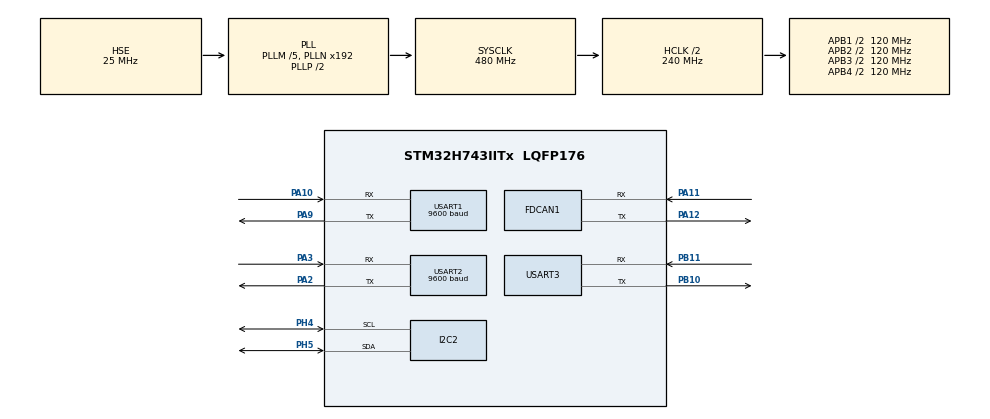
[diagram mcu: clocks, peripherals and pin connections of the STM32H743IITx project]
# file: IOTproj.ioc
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CORTEX_M7.default_mode_Activation=1
Dma.Request0=USART1_RX
Dma.Request1=USART1_TX
Dma.Request2=USART2_RX
Dma.Request3=USART2_TX
Dma.Request4=USART3_RX
Dma.Request5=USART3_TX
Dma.USART1_RX.0.Direction=DMA_PERIPH_TO_MEMORY
Dma.USART1_RX.0.EventEnable=DISABLE
Dma.USART1_RX.0.FIFOMode=DMA_FIFOMODE_DISABLE
Dma.USART1_RX.0.Instance=DMA1_Stream0
Dma.USART1_RX.0.MemDataAlignment=DMA_MDATAALIGN_BYTE
Dma.USART1_RX.0.MemInc=DMA_MINC_ENABLE
Dma.USART1_RX.0.Mode=DMA_NORMAL
Dma.USART1_RX.0.PeriphDataAlignment=DMA_PDATAALIGN_BYTE
Dma.USART1_RX.0.PeriphInc=DMA_PINC_DISABLE
Dma.USART1_RX.0.Polarity=HAL_DMAMUX_REQ_GEN_RISING
Dma.USART1_RX.0.Priority=DMA_PRIORITY_VERY_HIGH
Dma.USART1_RX.0.RequestNumber=1
Dma.USART1_RX.0.SignalID=NONE
Dma.USART1_RX.0.SyncEnable=DISABLE
Dma.USART1_RX.0.SyncPolarity=HAL_DMAMUX_SYNC_NO_EVENT
Dma.USART1_RX.0.SyncRequestNumber=1
Dma.USART1_RX.0.SyncSignalID=NONE
Dma.USART1_TX.1.Direction=DMA_MEMORY_TO_PERIPH
Dma.USART1_TX.1.EventEnable=DISABLE
Dma.USART1_TX.1.FIFOMode=DMA_FIFOMODE_DISABLE
Dma.USART1_TX.1.Instance=DMA1_Stream1
Dma.USART1_TX.1.MemDataAlignment=DMA_MDATAALIGN_BYTE
Dma.USART1_TX.1.MemInc=DMA_MINC_ENABLE
Dma.USART1_TX.1.Mode=DMA_NORMAL
Dma.USART1_TX.1.PeriphDataAlignment=DMA_PDATAALIGN_BYTE
Dma.USART1_TX.1.PeriphInc=DMA_PINC_DISABLE
Dma.USART1_TX.1.Polarity=HAL_DMAMUX_REQ_GEN_RISING
Dma.USART1_TX.1.Priority=DMA_PRIORITY_VERY_HIGH
Dma.USART1_TX.1.RequestNumber=1
Dma.USART1_TX.1.SignalID=NONE
Dma.USART1_TX.1.SyncEnable=DISABLE
Dma.USART1_TX.1.SyncPolarity=HAL_DMAMUX_SYNC_NO_EVENT
Dma.USART1_TX.1.SyncRequestNumber=1
Dma.USART1_TX.1.SyncSignalID=NONE
Dma.USART2_RX.2.Direction=DMA_PERIPH_TO_MEMORY
Dma.USART2_RX.2.EventEnable=DISABLE
Dma.USART2_RX.2.FIFOMode=DMA_FIFOMODE_DISABLE
Dma.USART2_RX.2.Instance=DMA1_Stream2
Dma.USART2_RX.2.MemDataAlignment=DMA_MDATAALIGN_BYTE
Dma.USART2_RX.2.MemInc=DMA_MINC_ENABLE
Dma.USART2_RX.2.Mode=DMA_NORMAL
Dma.USART2_RX.2.PeriphDataAlignment=DMA_PDATAALIGN_BYTE
Dma.USART2_RX.2.PeriphInc=DMA_PINC_DISABLE
Dma.USART2_RX.2.Polarity=HAL_DMAMUX_REQ_GEN_RISING
Dma.USART2_RX.2.Priority=DMA_PRIORITY_VERY_HIGH
Dma.USART2_RX.2.RequestNumber=1
Dma.USART2_RX.2.SignalID=NONE
Dma.USART2_RX.2.SyncEnable=DISABLE
Dma.USART2_RX.2.SyncPolarity=HAL_DMAMUX_SYNC_NO_EVENT
Dma.USART2_RX.2.SyncRequestNumber=1
Dma.USART2_RX.2.SyncSignalID=NONE
Dma.USART2_TX.3.Direction=DMA_MEMORY_TO_PERIPH
Dma.USART2_TX.3.EventEnable=DISABLE
Dma.USART2_TX.3.FIFOMode=DMA_FIFOMODE_DISABLE
Dma.USART2_TX.3.Instance=DMA1_Stream3
Dma.USART2_TX.3.MemDataAlignment=DMA_MDATAALIGN_BYTE
Dma.USART2_TX.3.MemInc=DMA_MINC_ENABLE
Dma.USART2_TX.3.Mode=DMA_NORMAL
Dma.USART2_TX.3.PeriphDataAlignment=DMA_PDATAALIGN_BYTE
Dma.USART2_TX.3.PeriphInc=DMA_PINC_DISABLE
Dma.USART2_TX.3.Polarity=HAL_DMAMUX_REQ_GEN_RISING
Dma.USART2_TX.3.Priority=DMA_PRIORITY_VERY_HIGH
Dma.USART2_TX.3.RequestNumber=1
Dma.USART2_TX.3.SignalID=NONE
Dma.USART2_TX.3.SyncEnable=DISABLE
Dma.USART2_TX.3.SyncPolarity=HAL_DMAMUX_SYNC_NO_EVENT
Dma.USART2_TX.3.SyncRequestNumber=1
Dma.USART2_TX.3.SyncSignalID=NONE
Dma.USART3_RX.4.Direction=DMA_PERIPH_TO_MEMORY
Dma.USART3_RX.4.EventEnable=DISABLE
Dma.USART3_RX.4.FIFOMode=DMA_FIFOMODE_DISABLE
Dma.USART3_RX.4.Instance=DMA1_Stream4
Dma.USART3_RX.4.MemDataAlignment=DMA_MDATAALIGN_BYTE
Dma.USART3_RX.4.MemInc=DMA_MINC_ENABLE
Dma.USART3_RX.4.Mode=DMA_NORMAL
Dma.USART3_RX.4.PeriphDataAlignment=DMA_PDATAALIGN_BYTE
Dma.USART3_RX.4.PeriphInc=DMA_PINC_DISABLE
Dma.USART3_RX.4.Polarity=HAL_DMAMUX_REQ_GEN_RISING
Dma.USART3_RX.4.Priority=DMA_PRIORITY_VERY_HIGH
Dma.USART3_RX.4.RequestNumber=1
Dma.USART3_RX.4.SignalID=NONE
Dma.USART3_RX.4.SyncEnable=DISABLE
Dma.USART3_RX.4.SyncPolarity=HAL_DMAMUX_SYNC_NO_EVENT
Dma.USART3_RX.4.SyncRequestNumber=1
Dma.USART3_RX.4.SyncSignalID=NONE
Dma.USART3_TX.5.Direction=DMA_MEMORY_TO_PERIPH
Dma.USART3_TX.5.EventEnable=DISABLE
Dma.USART3_TX.5.FIFOMode=DMA_FIFOMODE_DISABLE
Dma.USART3_TX.5.Instance=DMA1_Stream5
Dma.USART3_TX.5.MemDataAlignment=DMA_MDATAALIGN_BYTE
Dma.USART3_TX.5.MemInc=DMA_MINC_ENABLE
Dma.USART3_TX.5.Mode=DMA_NORMAL
Dma.USART3_TX.5.PeriphDataAlignment=DMA_PDATAALIGN_BYTE
Dma.USART3_TX.5.PeriphInc=DMA_PINC_DISABLE
Dma.USART3_TX.5.Polarity=HAL_DMAMUX_REQ_GEN_RISING
Dma.USART3_TX.5.Priority=DMA_PRIORITY_VERY_HIGH
Dma.USART3_TX.5.RequestNumber=1
Dma.USART3_TX.5.SignalID=NONE
Dma.USART3_TX.5.SyncEnable=DISABLE
Dma.USART3_TX.5.SyncPolarity=HAL_DMAMUX_SYNC_NO_EVENT
Dma.USART3_TX.5.SyncRequestNumber=1
Dma.USART3_TX.5.SyncSignalID=NONE
FDCAN1.CalculateBaudRateNominal=1000000
FDCAN1.CalculateTimeBitNominal=1000
FDCAN1.CalculateTimeQuantumNominal=200.0
FDCAN1.NominalPrescaler=5
FDCAN1.NominalTimeSeg1=2
FDCAN1.NominalTimeSeg2=2
FDCAN1.RxFifo0ElmtsNbr=8
FDCAN1.TxFifoQueueElmtsNbr=8
FREERTOS.Tasks01=_system_monitor,24,128,system_monitor,Default,NULL,Dynamic,NULL,NULL;_transmit,25,128,transmit,Default,NULL,Dynamic,NULL,NULL;_motor_control,26,128,motor_control,Default,NULL,Dynamic,NULL,NULL;_wbc_state,27,128,wbc_state,Default,NULL,Dynamic,NULL,NULL
I2C2.Timing=0x307075B1
Mcu.Family=STM32H7
Mcu.Name=STM32H743IITx
Mcu.Package=LQFP176
NVIC.DMA1_Stream0_IRQn=true\:5\:0\:false\:false\:true\:true\:false\:true\:true
NVIC.DMA1_Stream1_IRQn=true\:5\:0\:false\:false\:true\:true\:false\:true\:true
NVIC.DMA1_Stream2_IRQn=true\:5\:0\:false\:false\:true\:true\:false\:true\:true
NVIC.DMA1_Stream3_IRQn=true\:5\:0\:false\:false\:true\:true\:false\:true\:true
NVIC.DMA1_Stream4_IRQn=true\:5\:0\:false\:false\:true\:true\:false\:true\:true
NVIC.DMA1_Stream5_IRQn=true\:5\:0\:false\:false\:true\:true\:false\:true\:true
NVIC.FDCAN1_IT0_IRQn=true\:5\:0\:false\:false\:true\:true\:true\:true\:true
NVIC.PriorityGroup=NVIC_PRIORITYGROUP_4
NVIC.TIM4_IRQn=true\:15\:0\:false\:false\:true\:false\:false\:true\:true
NVIC.TimeBase=TIM4_IRQn
NVIC.TimeBaseIP=TIM4
NVIC.USART1_IRQn=true\:5\:0\:false\:false\:true\:true\:false\:true\:true
NVIC.USART2_IRQn=true\:5\:0\:false\:false\:true\:true\:true\:true\:true
NVIC.USART3_IRQn=true\:5\:0\:false\:false\:true\:true\:false\:true\:true
PA10.GPIO_PuPd=GPIO_PULLUP
PA10.GPIO_Speed=GPIO_SPEED_FREQ_VERY_HIGH
PA10.Mode=Asynchronous
PA10.Signal=USART1_RX
PA11.GPIO_PuPd=GPIO_PULLUP
PA11.GPIO_Speed=GPIO_SPEED_FREQ_VERY_HIGH
PA11.Mode=FDCAN_Activate
PA11.Signal=FDCAN1_RX
PA12.GPIO_PuPd=GPIO_PULLUP
PA12.GPIO_Speed=GPIO_SPEED_FREQ_VERY_HIGH
PA12.Mode=FDCAN_Activate
PA12.Signal=FDCAN1_TX
PA2.GPIO_PuPd=GPIO_PULLUP
PA2.GPIO_Speed=GPIO_SPEED_FREQ_VERY_HIGH
PA2.Mode=Asynchronous
PA2.Signal=USART2_TX
PA3.GPIO_PuPd=GPIO_PULLUP
PA3.GPIO_Speed=GPIO_SPEED_FREQ_VERY_HIGH
PA3.Mode=Asynchronous
PA3.Signal=USART2_RX
PA9.GPIO_PuPd=GPIO_PULLUP
PA9.GPIO_Speed=GPIO_SPEED_FREQ_VERY_HIGH
PA9.Mode=Asynchronous
PA9.Signal=USART1_TX
PB10.GPIO_PuPd=GPIO_PULLUP
PB10.GPIO_Speed=GPIO_SPEED_FREQ_VERY_HIGH
PB10.Mode=Asynchronous
PB10.Signal=USART3_TX
PB11.GPIO_PuPd=GPIO_PULLUP
PB11.GPIO_Speed=GPIO_SPEED_FREQ_VERY_HIGH
PB11.Mode=Asynchronous
PB11.Signal=USART3_RX
PH0-OSC_IN\ (PH0).Mode=HSE-External-Oscillator
PH0-OSC_IN\ (PH0).Signal=RCC_OSC_IN
PH1-OSC_OUT\ (PH1).Mode=HSE-External-Oscillator
PH1-OSC_OUT\ (PH1).Signal=RCC_OSC_OUT
PH4.GPIO_Pu=GPIO_PULLUP
PH4.GPIO_Speed=GPIO_SPEED_FREQ_VERY_HIGH
PH4.Mode=I2C
PH4.Signal=I2C2_SCL
PH5.GPIO_Pu=GPIO_PULLUP
PH5.GPIO_Speed=GPIO_SPEED_FREQ_VERY_HIGH
PH5.Mode=I2C
PH5.Signal=I2C2_SDA
ProjectManager.HeapSize=0x200
ProjectManager.StackSize=0x400
ProjectManager.TargetToolchain=MDK-ARM V5.32
RCC.ADCFreq_Value=50390625
RCC.APB1Freq_Value=120000000
RCC.APB2Freq_Value=120000000
RCC.APB3Freq_Value=120000000
RCC.APB4Freq_Value=120000000
RCC.CortexFreq_Value=480000000
RCC.D1PPRE=RCC_APB3_DIV2
RCC.D2PPRE1=RCC_APB1_DIV2
RCC.D2PPRE2=RCC_APB2_DIV2
RCC.D3PPRE=RCC_APB4_DIV2
RCC.DIVM1=5
RCC.DIVN1=192
RCC.DIVQ1=3
RCC.FDCANCLockSelection=RCC_FDCANCLKSOURCE_HSE
RCC.HCLKFreq_Value=240000000
RCC.HPRE=RCC_HCLK_DIV2
RCC.PLLFRACN=0
RCC.PLLSourceVirtual=RCC_PLLSOURCE_HSE
RCC.SYSCLKFreq_VALUE=480000000
RCC.SYSCLKSource=RCC_SYSCLKSOURCE_PLLCLK
RCC.USBFreq_Value=320000000
USART1.BaudRate=9600
USART1.VirtualMode-Asynchronous=VM_ASYNC
USART2.BaudRate=9600
USART2.VirtualMode-Asynchronous=VM_ASYNC
USART3.VirtualMode-Asynchronous=VM_ASYNC
VP_FREERTOS_VS_CMSIS_V2.Mode=CMSIS_V2
VP_SYS_VS_tim4.Mode=TIM4
board=custom

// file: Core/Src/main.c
/* USER CODE BEGIN Header */
/**
  ******************************************************************************
  * @file           : main.c
  * @brief          : Main program body
  ******************************************************************************
  * @attention
  *
  * Copyright (c) 2024 STMicroelectronics.
  * All rights reserved.
  *
  * This software is licensed under terms that can be found in the LICENSE file
  * in the root directory of this software component.
  * If no LICENSE file comes with this software, it is provided AS-IS.
  *
  ******************************************************************************
  */
/* USER CODE END Header */
#include "main.h"
#include "cmsis_os.h"
#include "dma.h"
#include "fdcan.h"
#include "i2c.h"
#include "usart.h"
#include "gpio.h"

/* USER CODE BEGIN Includes */
#include "max30205.h"
/* USER CODE END Includes */

void SystemClock_Config(void);
static void MPU_Config(void);
void MX_FREERTOS_Init(void);

int main(void)
{

  /* USER CODE BEGIN 1 */
	uint8_t enable[8]={0xFF,0xFF,0xFF,0xFF,0xFF,0xFF,0xFF,0xFC};
	uint8_t zero[8]={0xFF,0xFF,0xFF,0xFF,0xFF,0xFF,0xFF,0xFE};
  /* USER CODE END 1 */

  /* MPU Configuration--------------------------------------------------------*/
  MPU_Config();

  /* MCU Configuration--------------------------------------------------------*/

  /* Reset of all peripherals, Initializes the Flash interface and the Systick. */
  HAL_Init();

  /* Configure the system clock */
  SystemClock_Config();

  /* Initialize all configured peripherals */
  MX_GPIO_Init();
  MX_DMA_Init();
  MX_USART1_UART_Init();
  MX_USART2_UART_Init();
  MX_USART3_UART_Init();
  MX_FDCAN1_Init();
  MX_I2C2_Init();
  /* USER CODE BEGIN 2 */

	FDCAN1_Send_Msg(enable,0x08);
	MAX30205_Init();
	MAX30205_OneShotMode();

  /* USER CODE END 2 */

  /* Init scheduler */
  osKernelInitialize();

  /* Call init function for freertos objects (in cmsis_os2.c) */
  MX_FREERTOS_Init();

  /* Start scheduler */
  osKernelStart();

  /* We should never get here as control is now taken by the scheduler */

  /* Infinite loop */
  while (1)
  {

  }
}

void SystemClock_Config(void)
{
  RCC_OscInitTypeDef RCC_OscInitStruct = {0};
  RCC_ClkInitTypeDef RCC_ClkInitStruct = {0};

  /** Supply configuration update enable
  */
  HAL_PWREx_ConfigSupply(PWR_LDO_SUPPLY);

  /** Configure the main internal regulator output voltage
  */
  __HAL_PWR_VOLTAGESCALING_CONFIG(PWR_REGULATOR_VOLTAGE_SCALE1);

  while(!__HAL_PWR_GET_FLAG(PWR_FLAG_VOSRDY)) {}

  __HAL_RCC_SYSCFG_CLK_ENABLE();
  __HAL_PWR_VOLTAGESCALING_CONFIG(PWR_REGULATOR_VOLTAGE_SCALE0);

  while(!__HAL_PWR_GET_FLAG(PWR_FLAG_VOSRDY)) {}

  /** Initializes the RCC Oscillators according to the specified parameters
  * in the RCC_OscInitTypeDef structure.
  */
  RCC_OscInitStruct.OscillatorType = RCC_OSCILLATORTYPE_HSE;
  RCC_OscInitStruct.HSEState = RCC_HSE_ON;
  RCC_OscInitStruct.PLL.PLLState = RCC_PLL_ON;
  RCC_OscInitStruct.PLL.PLLSource = RCC_PLLSOURCE_HSE;
  RCC_OscInitStruct.PLL.PLLM = 5;
  RCC_OscInitStruct.PLL.PLLN = 192;
  RCC_OscInitStruct.PLL.PLLP = 2;
  RCC_OscInitStruct.PLL.PLLQ = 3;
  RCC_OscInitStruct.PLL.PLLR = 2;
  RCC_OscInitStruct.PLL.PLLRGE = RCC_PLL1VCIRANGE_2;
  RCC_OscInitStruct.PLL.PLLVCOSEL = RCC_PLL1VCOWIDE;
  RCC_OscInitStruct.PLL.PLLFRACN = 0;
  if (HAL_RCC_OscConfig(&RCC_OscInitStruct) != HAL_OK)
  {
    Error_Handler();
  }

  /** Initializes the CPU, AHB and APB buses clocks
  */
  RCC_ClkInitStruct.ClockType = RCC_CLOCKTYPE_HCLK|RCC_CLOCKTYPE_SYSCLK
                              |RCC_CLOCKTYPE_PCLK1|RCC_CLOCKTYPE_PCLK2
                              |RCC_CLOCKTYPE_D3PCLK1|RCC_CLOCKTYPE_D1PCLK1;
  RCC_ClkInitStruct.SYSCLKSource = RCC_SYSCLKSOURCE_PLLCLK;
  RCC_ClkInitStruct.SYSCLKDivider = RCC_SYSCLK_DIV1;
  RCC_ClkInitStruct.AHBCLKDivider = RCC_HCLK_DIV2;
  RCC_ClkInitStruct.APB3CLKDivider = RCC_APB3_DIV2;
  RCC_ClkInitStruct.APB1CLKDivider = RCC_APB1_DIV2;
  RCC_ClkInitStruct.APB2CLKDivider = RCC_APB2_DIV2;
  RCC_ClkInitStruct.APB4CLKDivider = RCC_APB4_DIV2;

  if (HAL_RCC_ClockConfig(&RCC_ClkInitStruct, FLASH_LATENCY_4) != HAL_OK)
  {
    Error_Handler();
  }
}

 /* MPU Configuration */

void MPU_Config(void)
{
  MPU_Region_InitTypeDef MPU_InitStruct = {0};

  /* Disables the MPU */
  HAL_MPU_Disable();

  /** Initializes and configures the Region and the memory to be protected
  */
  MPU_InitStruct.Enable = MPU_REGION_ENABLE;
  MPU_InitStruct.Number = MPU_REGION_NUMBER0;
  MPU_InitStruct.BaseAddress = 0x0;
  MPU_InitStruct.Size = MPU_REGION_SIZE_4GB;
  MPU_InitStruct.SubRegionDisable = 0x87;
  MPU_InitStruct.TypeExtField = MPU_TEX_LEVEL0;
  MPU_InitStruct.AccessPermission = MPU_REGION_NO_ACCESS;
  MPU_InitStruct.DisableExec = MPU_INSTRUCTION_ACCESS_DISABLE;
  MPU_InitStruct.IsShareable = MPU_ACCESS_SHAREABLE;
  MPU_InitStruct.IsCacheable = MPU_ACCESS_NOT_CACHEABLE;
  MPU_InitStruct.IsBufferable = MPU_ACCESS_NOT_BUFFERABLE;

  HAL_MPU_ConfigRegion(&MPU_InitStruct);
  /* Enables the MPU */
  HAL_MPU_Enable(MPU_PRIVILEGED_DEFAULT);

}

void HAL_TIM_PeriodElapsedCallback(TIM_HandleTypeDef *htim)
{
  if (htim->Instance == TIM4) {
    HAL_IncTick();
  }
}

void Error_Handler(void)
{
  __disable_irq();
  while (1)
  {
  }
}

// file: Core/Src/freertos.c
/* USER CODE BEGIN Header */
/**
  ******************************************************************************
  * File Name          : freertos.c
  * Description        : Code for freertos applications
  ******************************************************************************
  * @attention
  *
  * Copyright (c) 2024 STMicroelectronics.
  * All rights reserved.
  *
  * This software is licensed under terms that can be found in the LICENSE file
  * in the root directory of this software component.
  * If no LICENSE file comes with this software, it is provided AS-IS.
  *
  ******************************************************************************
  */
/* USER CODE END Header */

#include "FreeRTOS.h"
#include "task.h"
#include "main.h"
#include "cmsis_os.h"

/* USER CODE BEGIN Includes */
#include "fdcan.h"
#include "ROBOT.h"
#include "usart.h"
#include "max30205.h"
/* USER CODE END Includes */

/* Definitions for _system_monitor */
osThreadId_t _system_monitorHandle;
const osThreadAttr_t _system_monitor_attributes = {
  .name = "_system_monitor",
  .stack_size = 128 * 4,
  .priority = (osPriority_t) osPriorityNormal,
};
/* Definitions for _transmit */
osThreadId_t _transmitHandle;
const osThreadAttr_t _transmit_attributes = {
  .name = "_transmit",
  .stack_size = 128 * 4,
  .priority = (osPriority_t) osPriorityNormal1,
};
/* Definitions for _motor_control */
osThreadId_t _motor_controlHandle;
const osThreadAttr_t _motor_control_attributes = {
  .name = "_motor_control",
  .stack_size = 128 * 4,
  .priority = (osPriority_t) osPriorityNormal2,
};
/* Definitions for _wbc_state */
osThreadId_t _wbc_stateHandle;
const osThreadAttr_t _wbc_state_attributes = {
  .name = "_wbc_state",
  .stack_size = 128 * 4,
  .priority = (osPriority_t) osPriorityNormal3,
};

void system_monitor(void *argument);
void transmit(void *argument);
void motor_control(void *argument);
void wbc_state(void *argument);

void MX_FREERTOS_Init(void); /* (MISRA C 2004 rule 8.1) */

void MX_FREERTOS_Init(void) {

  /* Create the thread(s) */
  /* creation of _system_monitor */
  _system_monitorHandle = osThreadNew(system_monitor, NULL, &_system_monitor_attributes);

  /* creation of _transmit */
  _transmitHandle = osThreadNew(transmit, NULL, &_transmit_attributes);

  /* creation of _motor_control */
  _motor_controlHandle = osThreadNew(motor_control, NULL, &_motor_control_attributes);

  /* creation of _wbc_state */
  _wbc_stateHandle = osThreadNew(wbc_state, NULL, &_wbc_state_attributes);

}

void system_monitor(void *argument)
{
  /* USER CODE BEGIN system_monitor */
  /* Infinite loop */
  for(;;)
  {
		System_monitor.usart1_fps = System_monitor.usart1_cnt;
		System_monitor.usart1_cnt = 0;

		System_monitor.usart2_fps = System_monitor.usart2_cnt;
		System_monitor.usart2_cnt = 0;

		System_monitor.usart3_fps = System_monitor.usart3_cnt;
		System_monitor.usart3_cnt = 0;

		System_monitor.fdcan1_fps = System_monitor.fdcan1_cnt;
		System_monitor.fdcan1_cnt = 0;

		System_monitor.transmit_fps = System_monitor.transmit_cnt;
		System_monitor.transmit_cnt = 0;

		System_monitor.wbc_state_fps = System_monitor.wbc_state_cnt;
		System_monitor.wbc_state_cnt = 0;

		System_monitor.motor_control_fps = System_monitor.motor_control_cnt;
		System_monitor.motor_control_cnt = 0;

    vTaskDelay(pdMS_TO_TICKS(1000));
  }
  /* USER CODE END system_monitor */
}

void transmit(void *argument)
{
  /* USER CODE BEGIN transmit */
  /* Infinite loop */
  for(;;)
  {
		System_monitor.transmit_cnt++;

		static int uart1_cnt=0;
		static int uart2_cnt=0;

		static int iic_cnt=0;

		System_state.temp = MAX30205_GetTemperature();

		//串口2发送部分
		if(System_state.cmd==1)//血压
		{

		}
		else if(System_state.cmd==2)//血糖
		{

		}
		else if(System_state.cmd==3)//血氧
		{
			if(System_state.spo2==0)
			{
				uart1_cnt++;
				if(uart1_cnt>4500)//如果4.5秒还没有反应就生成随机数，范围50-100
				{
					uart1_cnt=0;
					System_state.cmd=0;
					int rand=75;
					int tmp2=rand/10;
					int tmp1=rand-tmp2*10;
					uart1_tx_buffer[0]=tmp2+'0';
					uart1_tx_buffer[1]=tmp1+'0';
				}
			}
			else
			{
				uart1_cnt=0;
				System_state.cmd=0;
				if(System_state.spo2/100==0)
				{
					int tmp2=System_state.spo2/10;
					int tmp1=System_state.spo2-tmp2*10;
					uart1_tx_buffer[0]=tmp2+'0';
					uart1_tx_buffer[1]=tmp1+'0';
				}
				else
				{
					int tmp3=System_state.spo2/100;
					int tmp2=(System_state.spo2-tmp3*100)/10;
					int tmp1=System_state.spo2-tmp3*100-tmp2*10;
					uart1_tx_buffer[0]=tmp3+'0';
					uart1_tx_buffer[1]=tmp2+'0';
					uart1_tx_buffer[2]=tmp1+'0';
				}
				HAL_UART_Transmit_DMA(&huart1, uart1_tx_buffer, UART1_TX_LEN);
			}
		}
		else if(System_state.cmd==4)//体温
		{
			static float temp_max=0;
			temp_max = temp_max > System_state.temp ? temp_max : System_state.temp;
			iic_cnt++;
			if(iic_cnt>3500)
			{
				if(temp_max<36)
				{
					temp_max = 36.52;//随机数生成
				}

				int tmp3 = temp_max / 10;
				int tmp2 = temp_max - tmp3 * 10;
				int tmp1 = temp_max * 10 -tmp3 * 100 - tmp2 * 10;
				int tmp0 = temp_max * 100 - tmp3 * 1000 - tmp2 * 100 - tmp1 * 10;
				uart1_tx_buffer[0]=tmp3+'0';
				uart1_tx_buffer[1]=tmp2+'0';
				uart1_tx_buffer[2]='.';
				uart1_tx_buffer[3]=tmp1+'0';
				uart1_tx_buffer[4]=tmp0+'0';

				HAL_UART_Transmit_DMA(&huart1, uart1_tx_buffer, UART1_TX_LEN);
				iic_cnt=0;
				temp_max=0;
				System_state.cmd=0;
			}
		}
		else if(System_state.cmd==5)//心率
		{
			if(System_state.heart==0)
			{
				uart1_cnt++;
				if(uart1_cnt>4500)//如果4.5秒还没有反应就生成随机数，范围20-200
				{
					uart1_cnt=0;
					System_state.cmd=0;
					int rand=75;
					int tmp2=rand/10;
					int tmp1=rand-tmp2*10;
					uart1_tx_buffer[0]=tmp2+'0';
					uart1_tx_buffer[1]=tmp1+'0';
				}
			}
			else
			{
				uart1_cnt=0;
				System_state.cmd=0;
				if(System_state.heart/100==0)
				{
					int tmp2=System_state.heart/10;
					int tmp1=System_state.heart-tmp2*10;
					uart1_tx_buffer[0]=tmp2+'0';
					uart1_tx_buffer[1]=tmp1+'0';
				}
				else
				{
					int tmp3=System_state.heart/100;
					int tmp2=(System_state.heart-tmp3*100)/10;
					int tmp1=System_state.heart-tmp3*100-tmp2*10;
					uart1_tx_buffer[0]=tmp3+'0';
					uart1_tx_buffer[1]=tmp2+'0';
					uart1_tx_buffer[2]=tmp1+'0';
				}
				HAL_UART_Transmit_DMA(&huart1, uart1_tx_buffer, UART1_TX_LEN);
			}
		}

		//串口2发送部分
		uart2_cnt++;
		if(uart2_cnt==1)
		{
			uart2_tx_buffer[0]='A';
			uart2_tx_buffer[1]='T';
			uart2_tx_buffer[2]='+';
			uart2_tx_buffer[3]='H';
			uart2_tx_buffer[4]='E';
			uart2_tx_buffer[5]='A';
			uart2_tx_buffer[6]='R';
			uart2_tx_buffer[7]='T';
			uart2_tx_buffer[8]='\r';
			uart2_tx_buffer[9]='\n';
			HAL_UART_Transmit_DMA(&huart2, uart2_tx_buffer, UART2_TX_LEN);
		}
		else if(uart2_cnt==501)
		{
			uart2_tx_buffer[0]='A';
			uart2_tx_buffer[1]='T';
			uart2_tx_buffer[2]='+';
			uart2_tx_buffer[3]='S';
			uart2_tx_buffer[4]='P';
			uart2_tx_buffer[5]='O';
			uart2_tx_buffer[6]='2';
			uart2_tx_buffer[7]='\r';
			uart2_tx_buffer[8]='\n';
			uart2_tx_buffer[9]=0;
			HAL_UART_Transmit_DMA(&huart2, uart2_tx_buffer, UART2_TX_LEN-1);
		}
		else if(uart2_cnt==1000)
		{
			uart2_cnt=0;
		}

		vTaskDelay(pdMS_TO_TICKS(1));
  }
  /* USER CODE END transmit */
}

void motor_control(void *argument)
{
  /* USER CODE BEGIN motor_control */
  /* Infinite loop */
  for(;;)
  {
    System_monitor.motor_control_cnt++;

		//ctrl_motor(Mgimbal.exp_pos,Mgimbal.exp_vel,Mgimbal.kp,Mgimbal.kd,Mgimbal.exp_torq);
		ctrl_motor2(Mgimbal.exp_pos+gimbal_offset,Mgimbal.max_vel);

		Mgimbal.max_vel=5;//rad/s
		if(System_state.Kit_num==1)
		{
			Mgimbal.exp_pos=0;
		}
		else if(System_state.Kit_num==2)
		{
			Mgimbal.exp_pos=1.04719753;
		}
		else if(System_state.Kit_num==3)
		{
			Mgimbal.exp_pos=2.09439507;
		}
		else if(System_state.Kit_num==4)
		{
			Mgimbal.exp_pos=3.1415926;
		}
		else if(System_state.Kit_num==5)
		{
			Mgimbal.exp_pos=4.18879013;
		}
		else if(System_state.Kit_num==6)
		{
			Mgimbal.exp_pos=5.23598767;
		}

		vTaskDelay(pdMS_TO_TICKS(1));
  }
  /* USER CODE END motor_control */
}

void wbc_state(void *argument)
{
  /* USER CODE BEGIN wbc_state */
  /* Infinite loop */
  for(;;)
  {
    System_monitor.wbc_state_cnt++;

		vTaskDelay(pdMS_TO_TICKS(1));
  }
  /* USER CODE END wbc_state */
}
